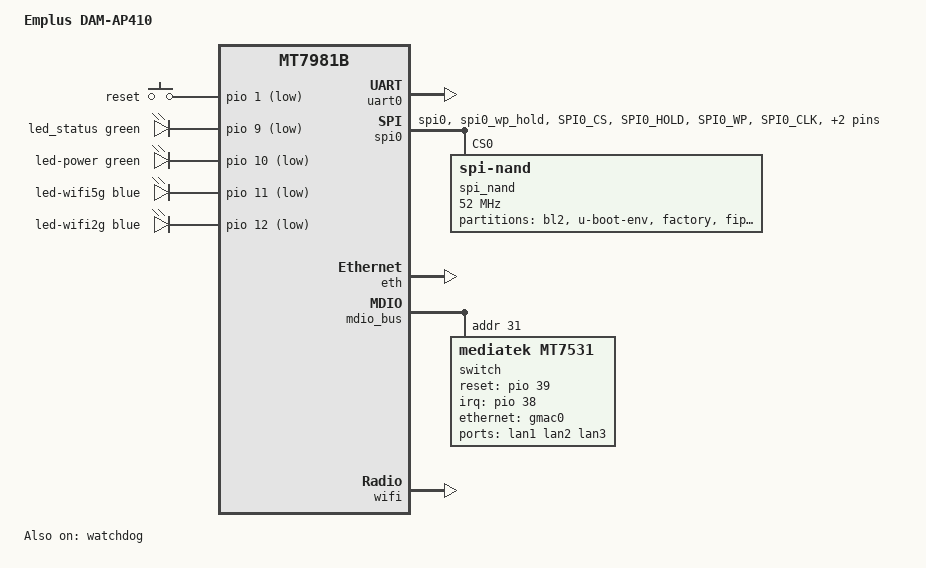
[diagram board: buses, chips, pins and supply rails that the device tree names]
// SPDX-License-Identifier: GPL-2.0-only OR MIT

/dts-v1/;

#include "mt7981b.dtsi"

/ {
	model = "Emplus DAM-AP410";
	compatible = "emplus,dam-ap410", "mediatek,mt7981b";

	aliases {
		label-mac-device = &gmac0;
		led-boot = &led_status;
		led-failsafe = &led_status;
		led-running = &led_status;
		led-upgrade = &led_status;
		serial0 = &uart0;
	};

	chosen {
		stdout-path = "serial0:115200n8";
	};

	/* debugfs gpio: gpio-456 reset, offset 1 on pio, input active low */
	gpio-keys {
		compatible = "gpio-keys";

		button-reset {
			label = "reset";
			linux,code = <KEY_RESTART>;
			gpios = <&pio 1 GPIO_ACTIVE_LOW>;
		};
	};

	/* LED gpios match debugfs offsets: status=9, power=10, wifi5g=11, wifi2g=12 */
	leds {
		compatible = "gpio-leds";

		led_status: led-status {
			function = LED_FUNCTION_STATUS;
			color = <LED_COLOR_ID_GREEN>;
			gpios = <&pio 9 GPIO_ACTIVE_LOW>;
		};

		led-power {
			function = LED_FUNCTION_POWER;
			color = <LED_COLOR_ID_GREEN>;
			gpios = <&pio 10 GPIO_ACTIVE_LOW>;
			default-state = "on";
		};

		led-wifi5g {
			function = LED_FUNCTION_WLAN_5GHZ;
			color = <LED_COLOR_ID_BLUE>;
			gpios = <&pio 11 GPIO_ACTIVE_LOW>;
			linux,default-trigger = "phy1tpt";
		};

		led-wifi2g {
			function = LED_FUNCTION_WLAN_2GHZ;
			color = <LED_COLOR_ID_BLUE>;
			gpios = <&pio 12 GPIO_ACTIVE_LOW>;
			linux,default-trigger = "phy0tpt";
		};
	};
};

&uart0 {
	status = "okay";
};

&watchdog {
	status = "okay";
};

&pio {
	spi0_flash_pins: spi0-pins {
		mux {
			function = "spi";
			groups = "spi0", "spi0_wp_hold";
		};

		conf-pu {
			pins = "SPI0_CS", "SPI0_HOLD", "SPI0_WP";
			drive-strength = <MTK_DRIVE_8mA>;
			bias-pull-up = <MTK_PUPD_SET_R1R0_11>;
		};

		conf-pd {
			pins = "SPI0_CLK", "SPI0_MOSI", "SPI0_MISO";
			drive-strength = <MTK_DRIVE_8mA>;
			bias-pull-down = <MTK_PUPD_SET_R1R0_11>;
		};
	};
};

&spi0 {
	pinctrl-names = "default";
	pinctrl-0 = <&spi0_flash_pins>;
	status = "okay";

	spi_nand: flash@0 {
		compatible = "spi-nand";
		reg = <0>;

		spi-max-frequency = <52000000>;
		spi-tx-bus-width = <4>;
		spi-rx-bus-width = <4>;

		partitions {
			compatible = "fixed-partitions";
			#address-cells = <1>;
			#size-cells = <1>;

			partition@0 {
				label = "bl2";
				reg = <0x0 0x100000>;
				read-only;
			};

			partition@100000 {
				label = "u-boot-env";
				reg = <0x100000 0x80000>;
			};

			factory: partition@180000 {
				label = "factory";
				reg = <0x180000 0x200000>;
				read-only;

				nvmem-layout {
					compatible = "fixed-layout";
					#address-cells = <1>;
					#size-cells = <1>;

					eeprom_factory: eeprom@0 {
						reg = <0x0 0x1000>;
					};

					macaddr_factory_4: macaddr@4 {
						reg = <0x4 0x6>;
					};
				};
			};

			partition@380000 {
				label = "fip";
				reg = <0x380000 0x200000>;
				read-only;
			};

			partition@580000 {
				label = "ubi";
				reg = <0x580000 0x6000000>;
			};

			partition@6580000 {
				label = "userconfig";
				reg = <0x6580000 0x940000>;
			};

			partition@6ec0000 {
				label = "storage";
				reg = <0x6ec0000 0x940000>;
			};
		};
	};
};

/*
 * DAM-AP410 has 3x 1GbE ports, all provided by the external MT7531AE
 * switch (no port is wired to the SoC's internal GbE PHY).
 */
&eth {
	status = "okay";

	gmac0: mac@0 {
		compatible = "mediatek,eth-mac";
		reg = <0>;
		phy-mode = "2500base-x";

		nvmem-cell-names = "mac-address";
		nvmem-cells = <&macaddr_factory_4>;

		fixed-link {
			speed = <2500>;
			full-duplex;
			pause;
		};
	};
};

&mdio_bus {
	switch: switch@1f {
		compatible = "mediatek,mt7531";
		reg = <31>;
		reset-gpios = <&pio 39 GPIO_ACTIVE_HIGH>;
		interrupt-controller;
		#interrupt-cells = <1>;
		interrupt-parent = <&pio>;
		interrupts = <38 IRQ_TYPE_LEVEL_HIGH>;
	};
};

&switch {
	ports {
		#address-cells = <1>;
		#size-cells = <0>;

		port@1 {
			reg = <1>;
			label = "lan1";
		};

		port@2 {
			reg = <2>;
			label = "lan2";
		};

		port@3 {
			reg = <3>;
			label = "lan3";
		};

		port@6 {
			reg = <6>;
			ethernet = <&gmac0>;
			phy-mode = "2500base-x";

			fixed-link {
				speed = <2500>;
				full-duplex;
				pause;
			};
		};
	};
};

&wifi {
	status = "okay";
	nvmem-cells = <&eeprom_factory>;
	nvmem-cell-names = "eeprom";
};
